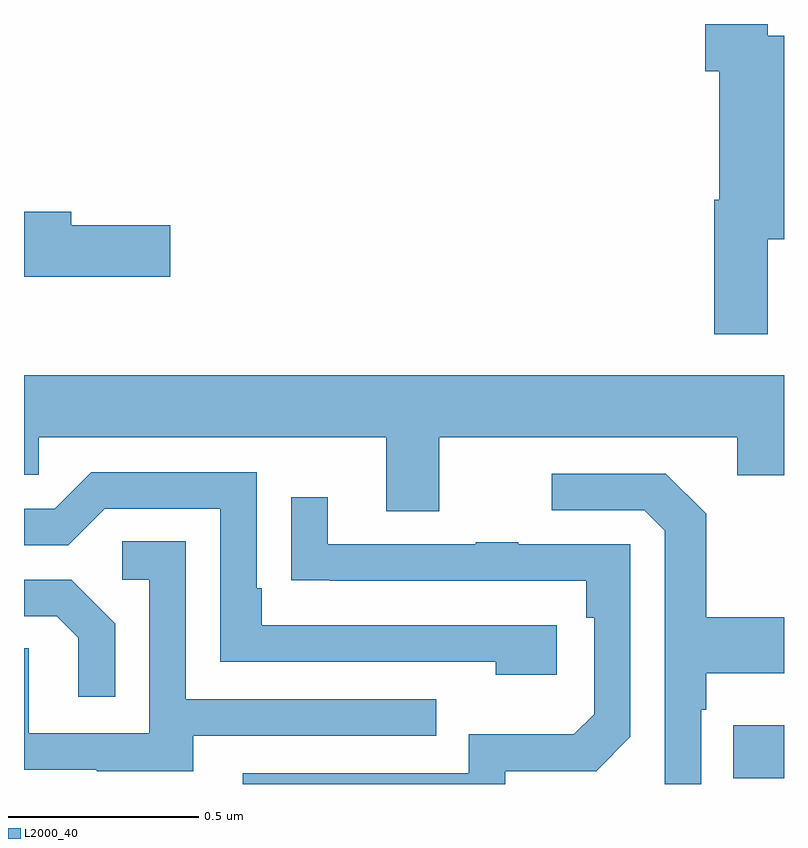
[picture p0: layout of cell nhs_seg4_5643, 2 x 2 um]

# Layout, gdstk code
import gdstk
lib = gdstk.Library(unit=1e-6, precision=1e-09)
def R(c, l, rs):  # rectangles x0, y0, x1, y1
    for r in rs: c.add(gdstk.rectangle(r[:2], r[2:], *l))
def P(c, l, *ps):  # polygons
    for p in ps: c.add(gdstk.Polygon(p, *l))
L2000_40 = (2000, 40)

nhs_seg4_5643 = lib.new_cell('nhs_seg4_5643')
R(nhs_seg4_5643, L2000_40, [(181.867,803.915,182,804.055)])
P(nhs_seg4_5643, L2000_40, [(181.957,805.334),(182,805.334),(182,805.869),(181.957,805.869),(181.957,805.9),(181.793,805.9),(181.793,805.776),(181.829,805.776),(181.829,805.438),(181.817,805.438),(181.817,805.083),(181.957,805.083)],
  [(180.385,805.37),(180.124,805.37),(180.124,805.406),(180,805.406),(180,805.235),(180.385,805.235)],
  [(181.093,804.812),(181.877,804.812),(181.877,804.713),(182,804.713),(182,804.976),(180,804.976),(180,804.714),(180.039,804.714),(180.039,804.812),(180.953,804.812),(180.953,804.618),(181.093,804.618)],
  [(181.402,804.318),(180.625,804.318),(180.625,804.415),(180.612,804.415),(180.612,804.72),(180.177,804.72),(180.081,804.624),(180,804.624),(180,804.528),(180.117,804.528),(180.213,804.624),(180.516,804.624),(180.516,804.222),(181.241,804.222),(181.241,804.188),(181.402,804.188)],
  [(181.782,804.095),(181.795,804.095),(181.795,804.191),(182,804.191),(182,804.339),(181.795,804.339),(181.795,804.611),(181.689,804.717),(181.389,804.717),(181.389,804.621),(181.632,804.621),(181.686,804.567),(181.686,803.9),(181.782,803.9)],
  [(181.266,803.934),(181.506,803.934),(181.596,804.024),(181.596,804.531),(181.301,804.531),(181.301,804.536),(181.189,804.536),(181.189,804.531),(180.799,804.531),(180.799,804.655),(180.703,804.655),(180.703,804.436),(180.805,804.436),(180.805,804.435),(181.48,804.435),(181.48,804.338),(181.5,804.338),(181.5,804.084),(181.447,804.031),(181.17,804.031),(181.17,803.928),(180.575,803.928),(180.575,803.9),(181.266,803.9)],
  [(180.445,804.027),(181.085,804.027),(181.085,804.123),(180.426,804.123),(180.426,804.539),(180.258,804.539),(180.258,804.438),(180.33,804.438),(180.33,804.033),(180.012,804.033),(180.012,804.257),(180,804.257),(180,803.937),(180.191,803.937),(180.191,803.933),(180.445,803.933)],
  [(180.24,804.322),(180.124,804.438),(180,804.438),(180,804.342),(180.086,804.342),(180.143,804.285),(180.143,804.129),(180.24,804.129)])

lib.write_gds('nhs_seg4_5643.gds')
